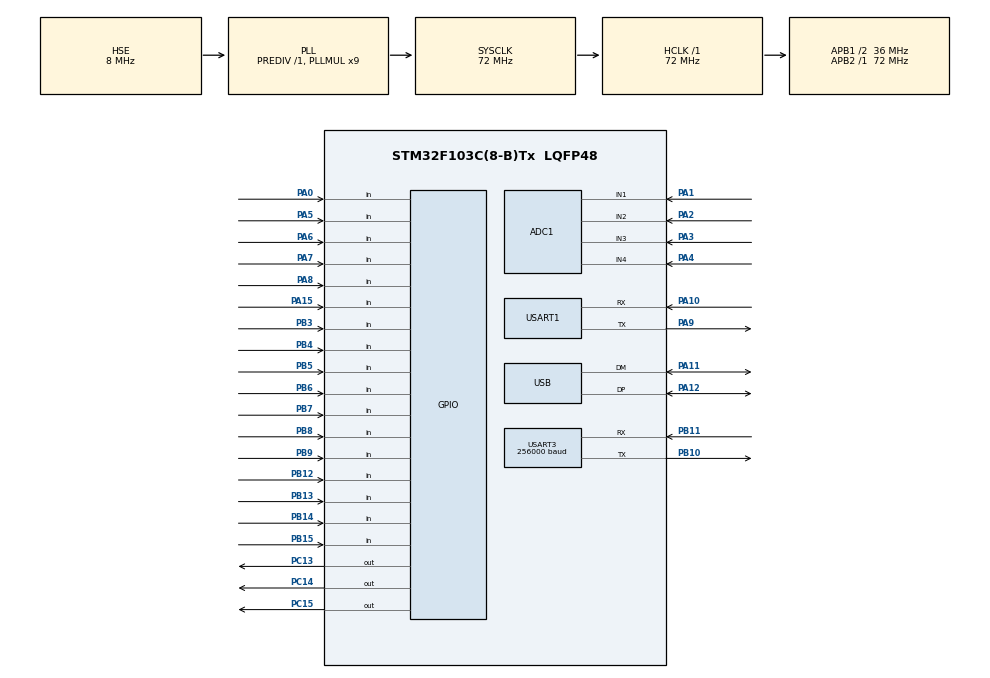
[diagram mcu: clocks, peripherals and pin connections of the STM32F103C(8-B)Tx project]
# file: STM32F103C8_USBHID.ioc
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ADC1.Channel-1\#ChannelRegularConversion=ADC_CHANNEL_1
ADC1.Channel-2\#ChannelRegularConversion=ADC_CHANNEL_2
ADC1.Channel-3\#ChannelRegularConversion=ADC_CHANNEL_3
ADC1.Channel-4\#ChannelRegularConversion=ADC_CHANNEL_4
ADC1.ContinuousConvMode=ENABLE
ADC1.NbrOfConversion=4
ADC1.NbrOfConversionFlag=1
ADC1.Rank-1\#ChannelRegularConversion=1
ADC1.Rank-2\#ChannelRegularConversion=2
ADC1.Rank-3\#ChannelRegularConversion=3
ADC1.Rank-4\#ChannelRegularConversion=4
ADC1.SamplingTime-1\#ChannelRegularConversion=ADC_SAMPLETIME_1CYCLE_5
ADC1.SamplingTime-2\#ChannelRegularConversion=ADC_SAMPLETIME_1CYCLE_5
ADC1.SamplingTime-3\#ChannelRegularConversion=ADC_SAMPLETIME_1CYCLE_5
ADC1.SamplingTime-4\#ChannelRegularConversion=ADC_SAMPLETIME_1CYCLE_5
ADC1.master=1
Dma.ADC1.0.Direction=DMA_PERIPH_TO_MEMORY
Dma.ADC1.0.Instance=DMA1_Channel1
Dma.ADC1.0.MemDataAlignment=DMA_MDATAALIGN_HALFWORD
Dma.ADC1.0.MemInc=DMA_MINC_ENABLE
Dma.ADC1.0.Mode=DMA_CIRCULAR
Dma.ADC1.0.PeriphDataAlignment=DMA_PDATAALIGN_HALFWORD
Dma.ADC1.0.PeriphInc=DMA_PINC_DISABLE
Dma.ADC1.0.Priority=DMA_PRIORITY_LOW
Dma.Request0=ADC1
Dma.Request1=USART3_RX
Dma.USART3_RX.1.Direction=DMA_PERIPH_TO_MEMORY
Dma.USART3_RX.1.Instance=DMA1_Channel3
Dma.USART3_RX.1.MemDataAlignment=DMA_MDATAALIGN_BYTE
Dma.USART3_RX.1.MemInc=DMA_MINC_ENABLE
Dma.USART3_RX.1.Mode=DMA_CIRCULAR
Dma.USART3_RX.1.PeriphDataAlignment=DMA_PDATAALIGN_BYTE
Dma.USART3_RX.1.PeriphInc=DMA_PINC_DISABLE
Dma.USART3_RX.1.Priority=DMA_PRIORITY_LOW
Mcu.Family=STM32F1
Mcu.Name=STM32F103C(8-B)Tx
Mcu.Package=LQFP48
NVIC.ADC1_2_IRQn=true\:2\:0\:true\:false\:true\:true\:true
NVIC.DMA1_Channel1_IRQn=true\:2\:0\:true\:false\:true\:false\:true
NVIC.DMA1_Channel3_IRQn=true\:0\:0\:false\:false\:true\:false\:true
NVIC.PriorityGroup=NVIC_PRIORITYGROUP_4
NVIC.USART3_IRQn=true\:1\:0\:true\:false\:true\:true\:true
NVIC.USB_LP_CAN1_RX0_IRQn=true\:0\:0\:false\:false\:true\:false\:true
PA0-WKUP.GPIO_PuPd=GPIO_PULLUP
PA0-WKUP.Signal=GPIO_Input
PA1.Signal=ADCx_IN1
PA10.Mode=Asynchronous
PA10.Signal=USART1_RX
PA11.Mode=Device
PA11.Signal=USB_DM
PA12.Mode=Device
PA12.Signal=USB_DP
PA13.Mode=Serial_Wire
PA13.Signal=SYS_JTMS-SWDIO
PA14.Mode=Serial_Wire
PA14.Signal=SYS_JTCK-SWCLK
PA15.GPIO_PuPd=GPIO_PULLUP
PA15.Signal=GPIO_Input
PA2.Signal=ADCx_IN2
PA3.Signal=ADCx_IN3
PA4.Signal=ADCx_IN4
PA5.GPIO_PuPd=GPIO_PULLUP
PA5.Signal=GPIO_Input
PA6.GPIO_PuPd=GPIO_PULLUP
PA6.Signal=GPIO_Input
PA7.GPIO_PuPd=GPIO_PULLUP
PA7.Signal=GPIO_Input
PA8.GPIO_PuPd=GPIO_PULLUP
PA8.Signal=GPIO_Input
PA9.Mode=Asynchronous
PA9.Signal=USART1_TX
PB10.Mode=Asynchronous
PB10.Signal=USART3_TX
PB11.Mode=Asynchronous
PB11.Signal=USART3_RX
PB12.GPIO_PuPd=GPIO_PULLUP
PB12.Signal=GPIO_Input
PB13.GPIO_PuPd=GPIO_PULLUP
PB13.Signal=GPIO_Input
PB14.GPIO_PuPd=GPIO_PULLUP
PB14.Signal=GPIO_Input
PB15.GPIO_PuPd=GPIO_PULLUP
PB15.Signal=GPIO_Input
PB3.GPIO_PuPd=GPIO_PULLUP
PB3.Signal=GPIO_Input
PB4.GPIO_PuPd=GPIO_PULLUP
PB4.Signal=GPIO_Input
PB5.GPIO_PuPd=GPIO_PULLUP
PB5.Signal=GPIO_Input
PB6.GPIO_PuPd=GPIO_PULLUP
PB6.Signal=GPIO_Input
PB7.GPIO_PuPd=GPIO_PULLUP
PB7.Signal=GPIO_Input
PB8.GPIO_PuPd=GPIO_PULLUP
PB8.Signal=GPIO_Input
PB9.GPIO_PuPd=GPIO_PULLUP
PB9.Signal=GPIO_Input
PC13-TAMPER-RTC.Signal=GPIO_Output
PC14-OSC32_IN.Signal=GPIO_Output
PC15-OSC32_OUT.Signal=GPIO_Output
PD0-OSC_IN.Mode=HSE-External-Oscillator
PD0-OSC_IN.Signal=RCC_OSC_IN
PD1-OSC_OUT.Mode=HSE-External-Oscillator
PD1-OSC_OUT.Signal=RCC_OSC_OUT
ProjectManager.HeapSize=0x200
ProjectManager.StackSize=0x400
ProjectManager.TargetToolchain=MDK-ARM V5.27
RCC.ADCPresc=RCC_ADCPCLK2_DIV6
RCC.AHBFreq_Value=72000000
RCC.APB1CLKDivider=RCC_HCLK_DIV2
RCC.APB1Freq_Value=36000000
RCC.APB1TimFreq_Value=72000000
RCC.APB2Freq_Value=72000000
RCC.APB2TimFreq_Value=72000000
RCC.HCLKFreq_Value=72000000
RCC.PLLMUL=RCC_PLL_MUL9
RCC.SYSCLKFreq_VALUE=72000000
RCC.SYSCLKSource=RCC_SYSCLKSOURCE_PLLCLK
RCC.USBFreq_Value=48000000
RCC.USBPrescaler=RCC_USBCLKSOURCE_PLL_DIV1_5
SH.ADCx_IN1.0=ADC1_IN1,IN1
SH.ADCx_IN2.0=ADC1_IN2,IN2
SH.ADCx_IN3.0=ADC1_IN3,IN3
SH.ADCx_IN4.0=ADC1_IN4,IN4
USART1.VirtualMode=VM_ASYNC
USART3.BaudRate=256000
USART3.VirtualMode=VM_ASYNC
USB_DEVICE.CLASS_NAME_FS=CUSTOM_HID
USB_DEVICE.USBD_CUSTOMHID_OUTREPORT_BUF_SIZE=64
USB_DEVICE.USBD_CUSTOM_HID_REPORT_DESC_SIZE=97
USB_DEVICE.VirtualMode=CustomHid
USB_DEVICE.VirtualModeFS=Custom_Hid_FS
VP_USB_DEVICE_VS_USB_DEVICE_CUSTOM_HID_FS.Mode=CUSTOM_HID_FS
board=custom

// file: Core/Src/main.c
/* USER CODE BEGIN Header */
/**
 ******************************************************************************
 * @file           : main.c
 * @brief          : Main program body
 ******************************************************************************
 * @attention
 *
 * <h2><center>&copy; Copyright (c) 2023 STMicroelectronics.
 * All rights reserved.</center></h2>
 *
 * This software component is licensed by ST under Ultimate Liberty license
 * SLA0044, the "License"; You may not use this file except in compliance with
 * the License. You may obtain a copy of the License at:
 *                             www.st.com/SLA0044
 *
 *****************************************************************************
 */
/* USER CODE END Header */
#include "main.h"
#include "adc.h"
#include "dma.h"
#include "usart.h"
#include "usb_device.h"
#include "gpio.h"

/* USER CODE BEGIN Includes */
#include "usbd_customhid.h"
#include "tm_stm32_usb_hid_device.h"
/* USER CODE END Includes */

/* USER CODE BEGIN PD */
#define ADC_Channel 4
#define Axis_Channel 4
#define Trigger_Channel 2
#define Trigger_min 1100
#define Trigger_max 3000
/* USER CODE END PD */

/* USER CODE BEGIN PV */
extern USBD_HandleTypeDef hUsbDeviceFS;
extern TM_USB_HIDDEVICE_Gamepad_t Gamepad1;
extern TM_USB_HIDDEVICE_DualShock4_t DS4_1;
extern TM_USB_HIDDEVICE_Status_t TM_USB_HIDDEVICE_INT_Status;

uint8_t buffer[10] = {0};
uint8_t buf[10] = {3, 5, 7, 9, 11, 13, 15, 19};
uint16_t ADC_buffer[ADC_Channel] = {0};
uint8_t axis_value[Axis_Channel] = {0};
// uint16_t Trigger_value[Trigger_Channel] = {0};
uint8_t rx_buf[4];
uint8_t tx_buf[4] = {0x55, 0x49, 0x48, 0x79};
int16_t angle, u8angle;
uint8_t init_done = 0;
/* USER CODE END PV */

void SystemClock_Config(void);
/* USER CODE BEGIN PFP */
void Key_Scan(void);
void D_PAD(TM_USB_HIDDEVICE_DualShock4_t *p);
void Systick_isr(void);
/* USER CODE END PFP */

int main(void)
{

  /* MCU Configuration--------------------------------------------------------*/

  /* Reset of all peripherals, Initializes the Flash interface and the Systick. */
  HAL_Init();

  /* USER CODE BEGIN Init */
  SysTick_Config(72000000 / 5000); //72Mhz / 50000 = 144000
  /* USER CODE END Init */

  /* Configure the system clock */
  SystemClock_Config();

  /* Initialize all configured peripherals */
  MX_GPIO_Init();
  MX_DMA_Init();
  MX_USB_DEVICE_Init();
  MX_ADC1_Init();
  MX_USART1_UART_Init();
  MX_USART3_UART_Init();
  /* USER CODE BEGIN 2 */
  HAL_GPIO_WritePin(GPIOC, GPIO_PIN_13, GPIO_PIN_RESET);
  HAL_GPIO_WritePin(GPIOC, GPIO_PIN_14, GPIO_PIN_RESET);
  HAL_GPIO_WritePin(GPIOC, GPIO_PIN_15, GPIO_PIN_RESET);
  HAL_ADC_Start_DMA(&hadc1, (uint32_t *)&ADC_buffer, ADC_Channel);
  // HAL_UART_Receive_DMA(&huart3, rx_buf, sizeof(rx_buf));
  TM_USB_HIDEVICE_DualShock4_StructInit(&DS4_1);
  /* USER CODE END 2 */

  /* Infinite loop */
  while (1)
  {

    /* USER CODE BEGIN 3 */
    Key_Scan();
    D_PAD(&DS4_1);
    // HAL_UART_Receive(&huart3, rx_buf, sizeof(rx_buf), 100);
    // HAL_UART_Transmit(&huart1, tx_buf, sizeof(tx_buf), 100);
    HAL_GPIO_TogglePin(GPIOC, GPIO_PIN_13);

    // 方向盘输入，angle值：-5400~5400 -> -127~127
    if (rx_buf[0] == 0x55)
    {
      angle = ((int16_t)rx_buf[2] << 8) + rx_buf[3];
      if (rx_buf[1] == 1)
      {
        angle = -angle;
      }
      // Euro truk max 1.5round, NFS max 3/4 round
      u8angle = angle * 127 / 2700 + 127;
      if (u8angle > 0xff)
      {
        u8angle = 0xff;
      }
      else if (u8angle < 0)
      {
        u8angle = 0;
      }
    }
    for (int i = 0; i < Axis_Channel; i++)
    {
      axis_value[i] = (int8_t)(((int16_t)ADC_buffer[i] >> 4));
    }
    // Trigger_max = 3000, Trigger_min = 1200;
    // for (int i = 4; i <= 5; i++)
    // {
    //   if (ADC_buffer[i] < Trigger_min)
    //   {
    //     Trigger_value[i - 4] = 0;
    //   }
    //   else
    //   {
    //     Trigger_value[i - 4] = (ADC_buffer[i] - 960) >> 3;
    //     if (Trigger_value[i - 4] > 0xff)
    //       Trigger_value[i - 4] = 0xff;
    //   }
    // }
    if (axis_value[1] > 250 || axis_value[1] < 20)
    {
      DS4_1.LeftXAxis = axis_value[1];
    }
    else
    {
      DS4_1.LeftXAxis = (uint8_t)u8angle;
    }
    DS4_1.LeftXAxis = axis_value[1];
    DS4_1.LeftYAxis = axis_value[0];
    DS4_1.RightXAxis = axis_value[3];
    DS4_1.RightYAxis = axis_value[2];

    // DS4_1.L2Trigger = (uint8_t)Trigger_value[0];
    // DS4_1.R2Trigger = (uint8_t)Trigger_value[1];
    DS4_1.L2 = (DS4_1.L2Trigger > 100) ? 1 : 0; // 可能导致不灵敏？
    DS4_1.R2 = (DS4_1.R2Trigger > 100) ? 1 : 0;
    //		USBD_CUSTOM_HID_SendReport(&hUsbDeviceFS, (uint8_t *)&buf, 7);
    //  	TM_USB_HIDDEVICE_GamepadSend(0x01, &Gamepad1);
    init_done ++;
    if(init_done > 101)
    init_done = 101;
    // HAL_Delay(8);
  }
  /* USER CODE END 3 */
}

void SystemClock_Config(void)
{
  RCC_OscInitTypeDef RCC_OscInitStruct = {0};
  RCC_ClkInitTypeDef RCC_ClkInitStruct = {0};
  RCC_PeriphCLKInitTypeDef PeriphClkInit = {0};

  /** Initializes the RCC Oscillators according to the specified parameters
  * in the RCC_OscInitTypeDef structure.
  */
  RCC_OscInitStruct.OscillatorType = RCC_OSCILLATORTYPE_HSE;
  RCC_OscInitStruct.HSEState = RCC_HSE_ON;
  RCC_OscInitStruct.HSEPredivValue = RCC_HSE_PREDIV_DIV1;
  RCC_OscInitStruct.HSIState = RCC_HSI_ON;
  RCC_OscInitStruct.PLL.PLLState = RCC_PLL_ON;
  RCC_OscInitStruct.PLL.PLLSource = RCC_PLLSOURCE_HSE;
  RCC_OscInitStruct.PLL.PLLMUL = RCC_PLL_MUL9;
  if (HAL_RCC_OscConfig(&RCC_OscInitStruct) != HAL_OK)
  {
    Error_Handler();
  }
  /** Initializes the CPU, AHB and APB buses clocks
  */
  RCC_ClkInitStruct.ClockType = RCC_CLOCKTYPE_HCLK|RCC_CLOCKTYPE_SYSCLK
                              |RCC_CLOCKTYPE_PCLK1|RCC_CLOCKTYPE_PCLK2;
  RCC_ClkInitStruct.SYSCLKSource = RCC_SYSCLKSOURCE_PLLCLK;
  RCC_ClkInitStruct.AHBCLKDivider = RCC_SYSCLK_DIV1;
  RCC_ClkInitStruct.APB1CLKDivider = RCC_HCLK_DIV2;
  RCC_ClkInitStruct.APB2CLKDivider = RCC_HCLK_DIV1;

  if (HAL_RCC_ClockConfig(&RCC_ClkInitStruct, FLASH_LATENCY_2) != HAL_OK)
  {
    Error_Handler();
  }
  PeriphClkInit.PeriphClockSelection = RCC_PERIPHCLK_ADC|RCC_PERIPHCLK_USB;
  PeriphClkInit.AdcClockSelection = RCC_ADCPCLK2_DIV6;
  PeriphClkInit.UsbClockSelection = RCC_USBCLKSOURCE_PLL_DIV1_5;
  if (HAL_RCCEx_PeriphCLKConfig(&PeriphClkInit) != HAL_OK)
  {
    Error_Handler();
  }
}

/* USER CODE BEGIN 4 */
// PB3~6 方向�??
// PB12~15 形状�??
void Key_Scan(void)
{
  DS4_1.Left = HAL_GPIO_ReadPin(GPIOB, GPIO_PIN_3) ? 0 : 1;
  DS4_1.Up = HAL_GPIO_ReadPin(GPIOB, GPIO_PIN_4) ? 0 : 1;
  DS4_1.right = HAL_GPIO_ReadPin(GPIOB, GPIO_PIN_5) ? 0 : 1;
  DS4_1.down = HAL_GPIO_ReadPin(GPIOB, GPIO_PIN_6) ? 0 : 1;

  DS4_1.rectangle = HAL_GPIO_ReadPin(GPIOB, GPIO_PIN_12) ? 0 : 1;
  DS4_1.Triangle = HAL_GPIO_ReadPin(GPIOB, GPIO_PIN_13) ? 0 : 1;
  DS4_1.circle = HAL_GPIO_ReadPin(GPIOB, GPIO_PIN_14) ? 0 : 1;
  DS4_1.cross = HAL_GPIO_ReadPin(GPIOB, GPIO_PIN_15) ? 0 : 1;

  DS4_1.R3 = HAL_GPIO_ReadPin(GPIOA, GPIO_PIN_5) ? 0 : 1;
  DS4_1.L3 = HAL_GPIO_ReadPin(GPIOA, GPIO_PIN_0) ? 0 : 1;
  DS4_1.R1 = HAL_GPIO_ReadPin(GPIOB, GPIO_PIN_7) ? 0 : 1;
  DS4_1.L1 = HAL_GPIO_ReadPin(GPIOB, GPIO_PIN_9) ? 0 : 1;

  DS4_1.L2Trigger = HAL_GPIO_ReadPin(GPIOA, GPIO_PIN_6) ? 0 : 0xff;
  DS4_1.R2Trigger = HAL_GPIO_ReadPin(GPIOA, GPIO_PIN_7) ? 0 : 0xff;

  // DS4_1.option = HAL_GPIO_ReadPin(GPIOA, GPIO_PIN_8) ? 0 : 1;
  // DS4_1.power = HAL_GPIO_ReadPin(GPIOA, GPIO_PIN_7) ? 0 : 1;
}

void D_PAD(TM_USB_HIDDEVICE_DualShock4_t *p)
{
  uint8_t key = 0;
  key = p->Up + (p->right << 1) + (p->down << 2) + (p->Left << 3);
  switch (key)
  {
  case 1: // 0001 N
    p->D_PAD = 0;
    break;
  case 2: // 0010 E
    p->D_PAD = 2;
    break;
  case 3: // 0011 NE
    p->D_PAD = 1;
    break;
  case 4: // 0100 S
    p->D_PAD = 4;
    break;
  case 6: // 0110 SE
    p->D_PAD = 3;
    break;
  case 8: // 1000 W
    p->D_PAD = 6;
    break;
  case 9: // 1001 NW
    p->D_PAD = 7;
    break;
  case 12: // 1100 SW
    p->D_PAD = 5;
    break;
  default:
    p->D_PAD = 8;
    break;
  }
}

void Systick_isr(void)
{
  if (init_done >= 100)
  TM_USB_HIDDEVICE_DualShock4_Send(0x01, &DS4_1);
}
/* USER CODE END 4 */

void Error_Handler(void)
{
  __disable_irq();
  while (1)
  {
  }
}

/************************ (C) COPYRIGHT STMicroelectronics *****END OF FILE****/
